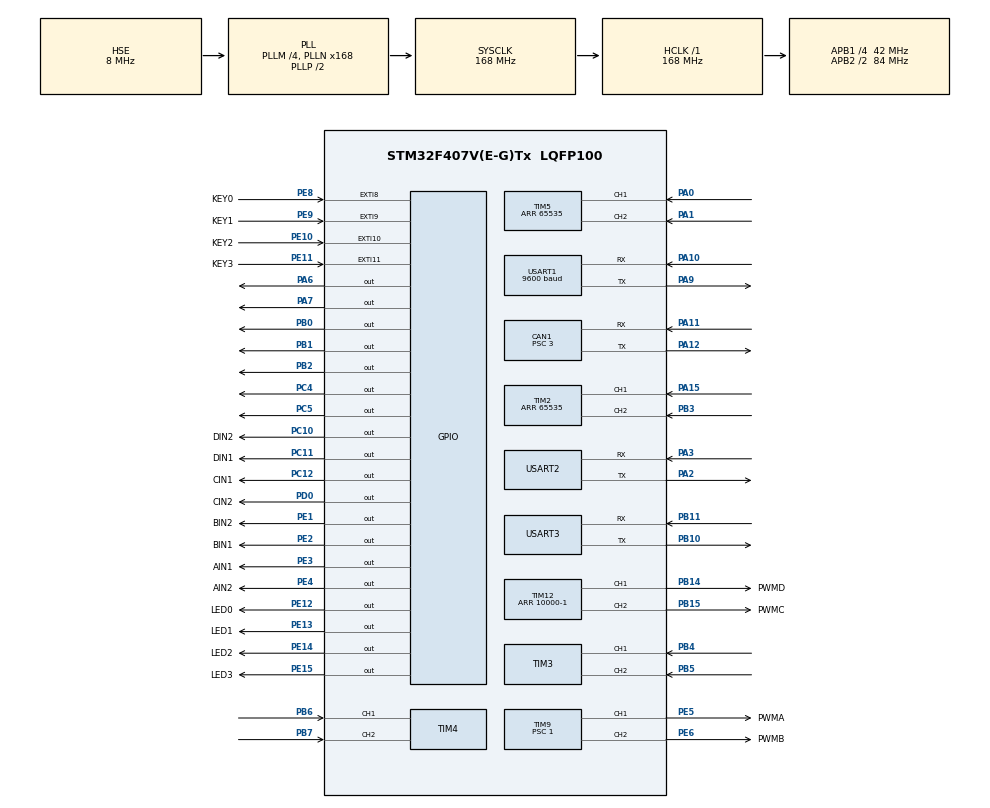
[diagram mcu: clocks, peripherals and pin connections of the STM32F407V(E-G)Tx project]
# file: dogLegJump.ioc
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CAN1.BS1=CAN_BS1_9TQ
CAN1.BS2=CAN_BS2_4TQ
CAN1.CalculateBaudRate=1000000
CAN1.CalculateTimeBit=1000
CAN1.CalculateTimeQuantum=71.42857142857143
CAN1.Prescaler=3
CAN1.SJW=CAN_SJW_3TQ
Dma.Request0=USART1_RX
Dma.Request1=USART1_TX
Dma.Request2=USART3_RX
Dma.Request3=USART3_TX
Dma.USART1_RX.0.Direction=DMA_PERIPH_TO_MEMORY
Dma.USART1_RX.0.FIFOMode=DMA_FIFOMODE_DISABLE
Dma.USART1_RX.0.Instance=DMA2_Stream2
Dma.USART1_RX.0.MemDataAlignment=DMA_MDATAALIGN_BYTE
Dma.USART1_RX.0.MemInc=DMA_MINC_ENABLE
Dma.USART1_RX.0.Mode=DMA_CIRCULAR
Dma.USART1_RX.0.PeriphDataAlignment=DMA_PDATAALIGN_BYTE
Dma.USART1_RX.0.PeriphInc=DMA_PINC_DISABLE
Dma.USART1_RX.0.Priority=DMA_PRIORITY_LOW
Dma.USART1_TX.1.Direction=DMA_MEMORY_TO_PERIPH
Dma.USART1_TX.1.FIFOMode=DMA_FIFOMODE_DISABLE
Dma.USART1_TX.1.Instance=DMA2_Stream7
Dma.USART1_TX.1.MemDataAlignment=DMA_MDATAALIGN_BYTE
Dma.USART1_TX.1.MemInc=DMA_MINC_ENABLE
Dma.USART1_TX.1.Mode=DMA_CIRCULAR
Dma.USART1_TX.1.PeriphDataAlignment=DMA_PDATAALIGN_BYTE
Dma.USART1_TX.1.PeriphInc=DMA_PINC_DISABLE
Dma.USART1_TX.1.Priority=DMA_PRIORITY_LOW
Dma.USART3_RX.2.Direction=DMA_PERIPH_TO_MEMORY
Dma.USART3_RX.2.FIFOMode=DMA_FIFOMODE_DISABLE
Dma.USART3_RX.2.Instance=DMA1_Stream1
Dma.USART3_RX.2.MemDataAlignment=DMA_MDATAALIGN_BYTE
Dma.USART3_RX.2.MemInc=DMA_MINC_ENABLE
Dma.USART3_RX.2.Mode=DMA_CIRCULAR
Dma.USART3_RX.2.PeriphDataAlignment=DMA_PDATAALIGN_BYTE
Dma.USART3_RX.2.PeriphInc=DMA_PINC_DISABLE
Dma.USART3_RX.2.Priority=DMA_PRIORITY_LOW
Dma.USART3_TX.3.Direction=DMA_MEMORY_TO_PERIPH
Dma.USART3_TX.3.FIFOMode=DMA_FIFOMODE_DISABLE
Dma.USART3_TX.3.Instance=DMA1_Stream3
Dma.USART3_TX.3.MemDataAlignment=DMA_MDATAALIGN_BYTE
Dma.USART3_TX.3.MemInc=DMA_MINC_ENABLE
Dma.USART3_TX.3.Mode=DMA_CIRCULAR
Dma.USART3_TX.3.PeriphDataAlignment=DMA_PDATAALIGN_BYTE
Dma.USART3_TX.3.PeriphInc=DMA_PINC_DISABLE
Dma.USART3_TX.3.Priority=DMA_PRIORITY_LOW
Mcu.Family=STM32F4
Mcu.Name=STM32F407V(E-G)Tx
Mcu.Package=LQFP100
NVIC.CAN1_RX0_IRQn=true\:0\:0\:false\:false\:true\:true\:true\:true
NVIC.CAN1_TX_IRQn=true\:0\:0\:false\:false\:true\:true\:true\:true
NVIC.DMA1_Stream1_IRQn=true\:0\:0\:false\:false\:true\:false\:true\:true
NVIC.DMA1_Stream3_IRQn=true\:0\:0\:false\:false\:true\:false\:true\:true
NVIC.DMA2_Stream2_IRQn=true\:0\:0\:false\:false\:true\:false\:true\:true
NVIC.DMA2_Stream7_IRQn=true\:0\:0\:false\:false\:true\:false\:true\:true
NVIC.EXTI15_10_IRQn=true\:5\:0\:true\:false\:true\:true\:true\:true
NVIC.EXTI9_5_IRQn=true\:5\:0\:true\:false\:true\:true\:true\:true
NVIC.PriorityGroup=NVIC_PRIORITYGROUP_4
NVIC.TIM6_DAC_IRQn=true\:0\:0\:false\:false\:true\:true\:true\:true
NVIC.TIM7_IRQn=true\:15\:0\:false\:false\:true\:false\:true\:true
NVIC.TimeBase=TIM7_IRQn
NVIC.TimeBaseIP=TIM7
NVIC.USART1_IRQn=true\:0\:0\:false\:false\:true\:true\:true\:true
NVIC.USART2_IRQn=true\:0\:0\:false\:false\:true\:true\:true\:true
PA0-WKUP.Signal=S_TIM5_CH1
PA1.Signal=S_TIM5_CH2
PA10.Mode=Asynchronous
PA10.Signal=USART1_RX
PA11.Mode=CAN_Activate
PA11.Signal=CAN1_RX
PA12.Mode=CAN_Activate
PA12.Signal=CAN1_TX
PA13.Mode=Serial_Wire
PA13.Signal=SYS_JTMS-SWDIO
PA14.Mode=Serial_Wire
PA14.Signal=SYS_JTCK-SWCLK
PA15.Signal=S_TIM2_CH1_ETR
PA2.Mode=Asynchronous
PA2.Signal=USART2_TX
PA3.Mode=Asynchronous
PA3.Signal=USART2_RX
PA6.Signal=GPIO_Output
PA7.Signal=GPIO_Output
PA9.Mode=Asynchronous
PA9.Signal=USART1_TX
PB0.Signal=GPIO_Output
PB1.Signal=GPIO_Output
PB10.Mode=Asynchronous
PB10.Signal=USART3_TX
PB11.Mode=Asynchronous
PB11.Signal=USART3_RX
PB14.GPIO_Label=PWMD
PB14.Signal=S_TIM12_CH1
PB15.GPIO_Label=PWMC
PB15.Signal=S_TIM12_CH2
PB2.Signal=GPIO_Output
PB3.Signal=S_TIM2_CH2
PB4.Signal=S_TIM3_CH1
PB5.Signal=S_TIM3_CH2
PB6.Signal=S_TIM4_CH1
PB7.Signal=S_TIM4_CH2
PC10.GPIO_Label=DIN2
PC10.Signal=GPIO_Output
PC11.GPIO_Label=DIN1
PC11.Signal=GPIO_Output
PC12.GPIO_Label=CIN1
PC12.Signal=GPIO_Output
PC4.Signal=GPIO_Output
PC5.Signal=GPIO_Output
PD0.GPIO_Label=CIN2
PD0.Signal=GPIO_Output
PE1.GPIO_Label=BIN2
PE1.Signal=GPIO_Output
PE10.GPIO_Label=KEY2
PE10.Signal=GPXTI10
PE11.GPIO_Label=KEY3
PE11.Signal=GPXTI11
PE12.GPIO_Label=LED0
PE12.Signal=GPIO_Output
PE13.GPIO_Label=LED1
PE13.Signal=GPIO_Output
PE14.GPIO_Label=LED2
PE14.Signal=GPIO_Output
PE15.GPIO_Label=LED3
PE15.Signal=GPIO_Output
PE2.GPIO_Label=BIN1
PE2.Signal=GPIO_Output
PE3.GPIO_Label=AIN1
PE3.Signal=GPIO_Output
PE4.GPIO_Label=AIN2
PE4.Signal=GPIO_Output
PE5.GPIO_Label=PWMA
PE5.Signal=S_TIM9_CH1
PE6.GPIO_Label=PWMB
PE6.Signal=S_TIM9_CH2
PE8.GPIO_Label=KEY0
PE8.Signal=GPXTI8
PE9.GPIO_Label=KEY1
PE9.Signal=GPXTI9
PH0-OSC_IN.Mode=HSE-External-Oscillator
PH0-OSC_IN.Signal=RCC_OSC_IN
PH1-OSC_OUT.Mode=HSE-External-Oscillator
PH1-OSC_OUT.Signal=RCC_OSC_OUT
ProjectManager.HeapSize=0x200
ProjectManager.StackSize=0x400
ProjectManager.TargetToolchain=Makefile
RCC.48MHZClocksFreq_Value=84000000
RCC.AHBFreq_Value=168000000
RCC.APB1CLKDivider=RCC_HCLK_DIV4
RCC.APB1Freq_Value=42000000
RCC.APB1TimFreq_Value=84000000
RCC.APB2CLKDivider=RCC_HCLK_DIV2
RCC.APB2Freq_Value=84000000
RCC.APB2TimFreq_Value=168000000
RCC.CortexFreq_Value=168000000
RCC.HCLKFreq_Value=168000000
RCC.HSE_VALUE=8000000
RCC.HSI_VALUE=16000000
RCC.LSE_VALUE=32768
RCC.PLLM=4
RCC.PLLN=168
RCC.PLLSourceVirtual=RCC_PLLSOURCE_HSE
RCC.SYSCLKFreq_VALUE=168000000
RCC.SYSCLKSource=RCC_SYSCLKSOURCE_PLLCLK
RCC.VCOOutputFreq_Value=336000000
SH.S_TIM12_CH1.0=TIM12_CH1,PWM Generation1 CH1
SH.S_TIM12_CH2.0=TIM12_CH2,PWM Generation2 CH2
SH.S_TIM2_CH1_ETR.0=TIM2_CH1,Encoder_Interface
SH.S_TIM2_CH2.0=TIM2_CH2,Encoder_Interface
SH.S_TIM3_CH1.0=TIM3_CH1,Encoder_Interface
SH.S_TIM3_CH2.0=TIM3_CH2,Encoder_Interface
SH.S_TIM4_CH1.0=TIM4_CH1,Encoder_Interface
SH.S_TIM4_CH2.0=TIM4_CH2,Encoder_Interface
SH.S_TIM5_CH1.0=TIM5_CH1,Encoder_Interface
SH.S_TIM5_CH2.0=TIM5_CH2,Encoder_Interface
SH.S_TIM9_CH1.0=TIM9_CH1,PWM Generation1 CH1
SH.S_TIM9_CH2.0=TIM9_CH2,PWM Generation2 CH2
TIM12.Channel-PWM\ Generation1\ CH1=TIM_CHANNEL_1
TIM12.Channel-PWM\ Generation2\ CH2=TIM_CHANNEL_2
TIM12.Period=10000-1
TIM2.EncoderMode=TIM_ENCODERMODE_TI12
TIM2.Period=65535
TIM3.EncoderMode=TIM_ENCODERMODE_TI12
TIM4.EncoderMode=TIM_ENCODERMODE_TI12
TIM5.CounterMode=TIM_COUNTERMODE_DOWN
TIM5.EncoderMode=TIM_ENCODERMODE_TI12
TIM5.Period=65535
TIM6.Period=1000-1
TIM6.Prescaler=84-1
TIM9.Channel-PWM\ Generation1\ CH1=TIM_CHANNEL_1
TIM9.Channel-PWM\ Generation2\ CH2=TIM_CHANNEL_2
TIM9.Period=10000-1
TIM9.Prescaler=1
USART1.BaudRate=9600
USART1.VirtualMode=VM_ASYNC
USART2.VirtualMode=VM_ASYNC
USART3.VirtualMode=VM_ASYNC
VP_SYS_VS_tim7.Mode=TIM7
VP_TIM12_VS_ClockSourceINT.Mode=Internal
VP_TIM6_VS_ClockSourceINT.Mode=Enable_Timer
VP_TIM9_VS_ClockSourceINT.Mode=Internal
board=custom

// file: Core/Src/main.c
/* USER CODE BEGIN Header */
/**
  ******************************************************************************
  * @file           : main.c
  * @brief          : Main program body
  ******************************************************************************
  * @attention
  *
  * Copyright (c) 2025 STMicroelectronics.
  * All rights reserved.
  *
  * This software is licensed under terms that can be found in the LICENSE file
  * in the root directory of this software component.
  * If no LICENSE file comes with this software, it is provided AS-IS.
  *
  ******************************************************************************
  */
/* USER CODE END Header */
#include "main.h"
#include "can.h"
#include "dma.h"
#include "tim.h"
#include "usart.h"
#include "gpio.h"

/* USER CODE BEGIN Includes */
#include "motor.h"
#include "pid.h"
#include "Caculate.h"
#include "DJI.h"
#include "wtr_can.h"
#include "encoder.h"
//#include "bsp_can.h"
#include <stdio.h>
/* USER CODE END Includes */

/* USER CODE BEGIN PD */
#define DATAS_LEN 5
/* USER CODE END PD */

/* USER CODE BEGIN PV */
  uint8_t rxBuffer[DATAS_LEN] = {0};  //串口接收的数据缓冲区，最后一字节为\n
  int32_t errorNum = 0;
  uint8_t dataReady = 0;

  Motor_t hmotor[4] ={ {{&htim9,TIM_CHANNEL_1},&htim2,{AIN1_GPIO_Port,AIN1_Pin},{AIN2_GPIO_Port,AIN2_Pin},0,0,0,0},
                      {{&htim9,TIM_CHANNEL_2},&htim3,{BIN1_GPIO_Port,BIN1_Pin},{BIN2_GPIO_Port,BIN2_Pin},0,0,0,0},
                      {{&htim12,TIM_CHANNEL_1},&htim4,{CIN1_GPIO_Port,CIN1_Pin},{CIN2_GPIO_Port,CIN2_Pin},0,0,0,0},
                      {{&htim12,TIM_CHANNEL_2},&htim5,{DIN1_GPIO_Port,DIN1_Pin},{DIN2_GPIO_Port,DIN2_Pin},0,0,0,0}};
  PID_t hpid_speed[4];
  PID_t hpid_position[4];
  float motor_out_posi = 0;
  float motor_out_speed = 0;

  uint8_t jumpFlag = 0; //起跳的标志位
  uint8_t runFlag = 0;  //移动标志位，为0，不移动；为1，向前移动
  int counter = 0;  //起跳电机转动时间，counter*5ms
/* USER CODE END PV */

void SystemClock_Config(void);

/* USER CODE BEGIN 0 */
int __io_putchar(int ch)
{
    HAL_UART_Transmit(&huart1, (uint8_t *)&ch, 1, HAL_MAX_DELAY);
    return ch;
}   //使用huart1可以正常输出，但是使用huart2不能正常输出

//用于蓝牙通信
void HAL_UART_RxCpltCallback(UART_HandleTypeDef* huart){
  if (huart == &huart1){

    if (rxBuffer[0] == 0xAA && rxBuffer[DATAS_LEN-2] == 0xBB){
      if (rxBuffer[1] == 0x11){
        runFlag = 1;  //移动
        printf("run\n");
      }
      else {
        runFlag = 0;  //不移动
        printf("stop\n");
      }

      if (rxBuffer[2] == 0xFF){
        jumpFlag = 1; //三条腿同向跳越
        counter = 250 ;
        printf("jump\n");
      }
      else if (rxBuffer[2] == 0x11)
      {
        jumpFlag = 2; //三条腿从中向外跳
        counter = 250;
        printf("jump center\n");
      }

      else{
        jumpFlag = 0; //不跳越
      }
    }

    HAL_UART_Receive_IT(&huart1,(uint8_t*)rxBuffer,DATAS_LEN);
  }
}

/**
 * @brief  错误中断回调
 */
void HAL_UART_ErrorCallback(UART_HandleTypeDef *huart)
{
  if (huart->Instance == USART1)
  {
    //停止一切运动
    jumpFlag = 0;
    runFlag = 0;
    // 清除错误标志
    __HAL_UART_CLEAR_FLAG(&huart1, UART_FLAG_RXNE);
    // 重启接收
    HAL_UART_Receive_IT(&huart1,(uint8_t*)rxBuffer,DATAS_LEN);
    printf("error\n");
  }
}

void CAN_Init()
{
    const CAN_FilterTypeDef sFilterConfig = {.FilterIdHigh         = 0x0000,
                                             .FilterIdLow          = 0x0000,
                                             .FilterMaskIdHigh     = 0x0000,
                                             .FilterMaskIdLow      = 0x0000,
                                             .FilterFIFOAssignment = CAN_FILTER_FIFO0,
                                             .FilterBank           = 0,
                                             .FilterMode           = CAN_FILTERMODE_IDMASK,
                                             .FilterScale          = CAN_FILTERSCALE_32BIT,
                                             .FilterActivation     = ENABLE,
                                             .SlaveStartFilterBank = 14};
    if (HAL_CAN_ConfigFilter(&hcan1, &sFilterConfig) != HAL_OK)
    {
        Error_Handler();
    }
    //HAL_CAN_RegisterCallback(&hcan1, HAL_CAN_RX_FIFO0_MSG_PENDING_CB_ID, CAN_Fifo0ReceiveCallback);
    if (HAL_CAN_Start(&hcan1) != HAL_OK)
    {
      Error_Handler();
    }

    // 启动中断接收，监听 FIFO 0
    if (HAL_CAN_ActivateNotification(&hcan1, CAN_IT_RX_FIFO0_MSG_PENDING) != HAL_OK)
    {
      Error_Handler();
    }
}
/* USER CODE END 0 */

int main(void)
{

  /* MCU Configuration--------------------------------------------------------*/

  /* Reset of all peripherals, Initializes the Flash interface and the Systick. */
  HAL_Init();

  /* Configure the system clock */
  SystemClock_Config();

  /* Initialize all configured peripherals */
  MX_GPIO_Init();
  MX_DMA_Init();
  MX_CAN1_Init();
  MX_USART1_UART_Init();
  MX_TIM2_Init();
  MX_TIM3_Init();
  MX_TIM4_Init();
  MX_TIM5_Init();
  MX_TIM6_Init();
  MX_TIM9_Init();
  MX_TIM12_Init();
  MX_USART2_UART_Init();
  MX_USART3_UART_Init();
  /* USER CODE BEGIN 2 */
  /* 麦轮电机初始化*/
  for (int i=0;i<4;i++){
    PID_Init(&hpid_speed[i],
          2.81364 / MAX_SPEED, 0.83787 / MAX_SPEED, 0.68851 / MAX_SPEED, 0.45070, 0.39677,
          3.04182 / MAX_SPEED, 0.71963 / MAX_SPEED, 0.09108 / MAX_SPEED, 0.00000, 0.74526, 0,
          1, 20, 0);
    PID_Init(&hpid_position[i],
          1.72742, 0.14087, 0.35868, 0.57931, 0.51708,
          2.47420, 0.02883, 0.22799, 0.60006, 0.60421, 0.02,
          1, 2, 0);
    Motor_Start(&hmotor[i]);
    Motor_SetSpeed(&hmotor[i], 1);
    Encoder_Start(&hmotor[i]);
  }

  HAL_TIM_Base_Start_IT(&htim6);  //用于编码器数据处理和控制麦轮电机
  /*2006电机初始化*/
  for (int i=0;i<8;i++){
    hDJI[i].motorType = M2006;
  }
  DJI_Init();

  CAN_Init();
  HAL_TIM_Base_Start_IT(&htim6);
  __HAL_UART_CLEAR_FLAG(&huart1, UART_FLAG_RXNE); //清除可能残余的标志位
  HAL_UART_Receive_IT(&huart1, (uint8_t*)rxBuffer, DATAS_LEN);
  /* USER CODE END 2 */

  /* Infinite loop */
  while (1)
  {

    /* USER CODE BEGIN 3 */
    // speedServo(100,&hDJI[0]);
    // set_moto_current(&hcan1, hDJI[0].speedPID.output,   //将PID的计算结果通过CAN发送到电机
    //                     hDJI[0].speedPID.output,
    //                     hDJI[0].speedPID.output,
    //                     hDJI[0].speedPID.output);
    // //CanTransmit_DJI_1234(&hcan1, hDJI[0].speedPID.output, hDJI[1].speedPID.output,hDJI[2].speedPID.output, hDJI[3].speedPID.output);
    //printf("%d,%d\n",(int)(hDJI[0].FdbData.rpm), (int)(hDJI[0].speedPID.ref));
    // HAL_Delay(10);
  }
  /* USER CODE END 3 */
}

void SystemClock_Config(void)
{
  RCC_OscInitTypeDef RCC_OscInitStruct = {0};
  RCC_ClkInitTypeDef RCC_ClkInitStruct = {0};

  /** Configure the main internal regulator output voltage
  */
  __HAL_RCC_PWR_CLK_ENABLE();
  __HAL_PWR_VOLTAGESCALING_CONFIG(PWR_REGULATOR_VOLTAGE_SCALE1);

  /** Initializes the RCC Oscillators according to the specified parameters
  * in the RCC_OscInitTypeDef structure.
  */
  RCC_OscInitStruct.OscillatorType = RCC_OSCILLATORTYPE_HSE;
  RCC_OscInitStruct.HSEState = RCC_HSE_ON;
  RCC_OscInitStruct.PLL.PLLState = RCC_PLL_ON;
  RCC_OscInitStruct.PLL.PLLSource = RCC_PLLSOURCE_HSE;
  RCC_OscInitStruct.PLL.PLLM = 4;
  RCC_OscInitStruct.PLL.PLLN = 168;
  RCC_OscInitStruct.PLL.PLLP = RCC_PLLP_DIV2;
  RCC_OscInitStruct.PLL.PLLQ = 4;
  if (HAL_RCC_OscConfig(&RCC_OscInitStruct) != HAL_OK)
  {
    Error_Handler();
  }

  /** Initializes the CPU, AHB and APB buses clocks
  */
  RCC_ClkInitStruct.ClockType = RCC_CLOCKTYPE_HCLK|RCC_CLOCKTYPE_SYSCLK
                              |RCC_CLOCKTYPE_PCLK1|RCC_CLOCKTYPE_PCLK2;
  RCC_ClkInitStruct.SYSCLKSource = RCC_SYSCLKSOURCE_PLLCLK;
  RCC_ClkInitStruct.AHBCLKDivider = RCC_SYSCLK_DIV1;
  RCC_ClkInitStruct.APB1CLKDivider = RCC_HCLK_DIV4;
  RCC_ClkInitStruct.APB2CLKDivider = RCC_HCLK_DIV2;

  if (HAL_RCC_ClockConfig(&RCC_ClkInitStruct, FLASH_LATENCY_5) != HAL_OK)
  {
    Error_Handler();
  }
}

void HAL_TIM_PeriodElapsedCallback(TIM_HandleTypeDef *htim)
{
  /* USER CODE BEGIN Callback 0 */
  if (htim->Instance == TIM6){
    if (jumpFlag == 1){   //三条腿同向跳越
      counter--;
      if (counter <= 0){
        jumpFlag = 0;
      }
      //DJI2006电机控制
      //hDJI[0].FdbData.rpm = moto_chassis[0].speed_rpm;
      //hDJI[0].FdbData.rpm = encoderData.angularSpeed;
      speedServo(500,&hDJI[0]);
      speedServo(-500,&hDJI[1]);
      speedServo(500,&hDJI[2]);
      //positionServo(180, &hDJI[0]);
      // set_moto_current(&hcan1, hDJI[0].speedPID.output,   //将PID的计算结果通过CAN发送到电机
      //                     hDJI[1].speedPID.output,
      //                     hDJI[2].speedPID.output,
      //                     hDJI[3].speedPID.output);
      CanTransmit_DJI_1234(&hcan1, hDJI[0].speedPID.output, hDJI[1].speedPID.output,hDJI[2].speedPID.output, hDJI[3].speedPID.output);
      printf("%d,%d,%d\n",(int)hDJI[0].speedPID.output, (int)hDJI[1].speedPID.output, (int)hDJI[2].speedPID.output);
      //printf("%d,%d\n",(int)(hDJI[0].FdbData.rpm), (int)(hDJI[0].speedPID.ref));
      //printf("%d,%d\n",(int)(hDJI[0].posPID.fdb), (int)(hDJI[0].posPID.ref));
      //CanTransmit_DJI_1234(&hcan1, 4000, 4000,4000, 4000);
    }
    else if (jumpFlag == 2) //三条腿从中向外跳
    {
      counter--;
      if (counter <= 0){
        jumpFlag = 0;
      }
      speedServo(500,&hDJI[0]);
      speedServo(500,&hDJI[1]);
      speedServo(-500,&hDJI[2]);
      CanTransmit_DJI_1234(&hcan1, hDJI[0].speedPID.output, hDJI[1].speedPID.output,hDJI[2].speedPID.output, hDJI[3].speedPID.output);
      printf("%d,%d,%d\n",(int)hDJI[0].speedPID.output, (int)hDJI[1].speedPID.output, (int)hDJI[2].speedPID.output);
    }

    else {  //不跳越
      CanTransmit_DJI_1234(&hcan1,0,0,0,0);
    }

    if (runFlag == 1){  //前进
      //运动电机控制
      for (int i=0;i<2;i++){
        hpid_speed[i].target = -350;
        Encoder_Progress(&hmotor[i]);
        // motor_out_posi = PID_Calculate(&hpid_position,hmotor.real_round);
        // hpid_speed.target = motor_out_posi;
        motor_out_speed = PID_Calculate(&hpid_speed[i],hmotor[i].real_speed);
        //printf("%d,%d\n",(int)(hmotor.real_speed*100),(int)hpid_speed.target*100);
        Motor_SetSpeed(&hmotor[i],motor_out_speed);
      }
      for (int i=2;i<4;i++){
        hpid_speed[i].target = 350;
        Encoder_Progress(&hmotor[i]);
        // motor_out_posi = PID_Calculate(&hpid_position,hmotor.real_round);
        // hpid_speed.target = motor_out_posi;
        motor_out_speed = PID_Calculate(&hpid_speed[i],hmotor[i].real_speed);
        //printf("%d,%d\n",(int)(hmotor.real_speed*100),(int)hpid_speed.target*100);
        Motor_SetSpeed(&hmotor[i],motor_out_speed);
      }
    }
    else {  //  停止
      for (int i=0;i<4;i++){
        Motor_SetSpeed(&hmotor[i],0);
      }
    }
  }

  /* USER CODE END Callback 0 */
  if (htim->Instance == TIM7)
  {
    HAL_IncTick();
  }
}

void Error_Handler(void)
{
  __disable_irq();
  while (1)
  {
  }
}
